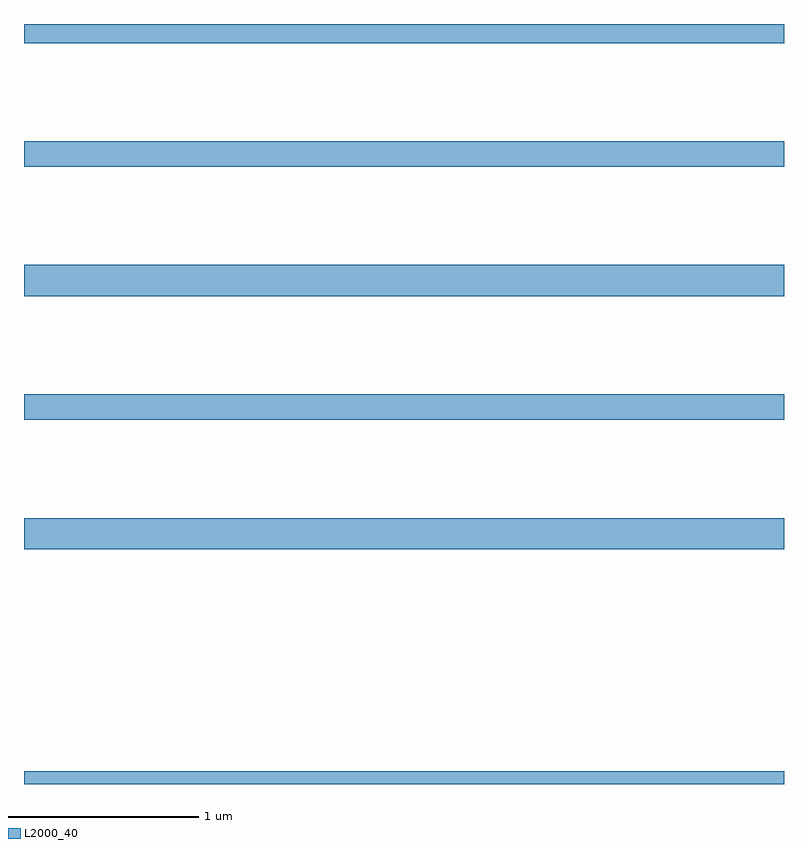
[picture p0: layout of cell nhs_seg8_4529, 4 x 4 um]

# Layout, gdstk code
import gdstk
lib = gdstk.Library(unit=1e-6, precision=1e-09)
def R(c, l, rs):  # rectangles x0, y0, x1, y1
    for r in rs: c.add(gdstk.rectangle(r[:2], r[2:], *l))
L2000_40 = (2000, 40)

nhs_seg8_4529 = lib.new_cell('nhs_seg8_4529')
R(nhs_seg8_4529, L2000_40, [(385,1145.9,389,1145.968), (385,1147.136,389,1147.3), (385,1147.816,389,1147.952), (385,1148.468,389,1148.632), (385,1149.148,389,1149.284), (385,1149.8,389,1149.9)])

lib.write_gds('nhs_seg8_4529.gds')
